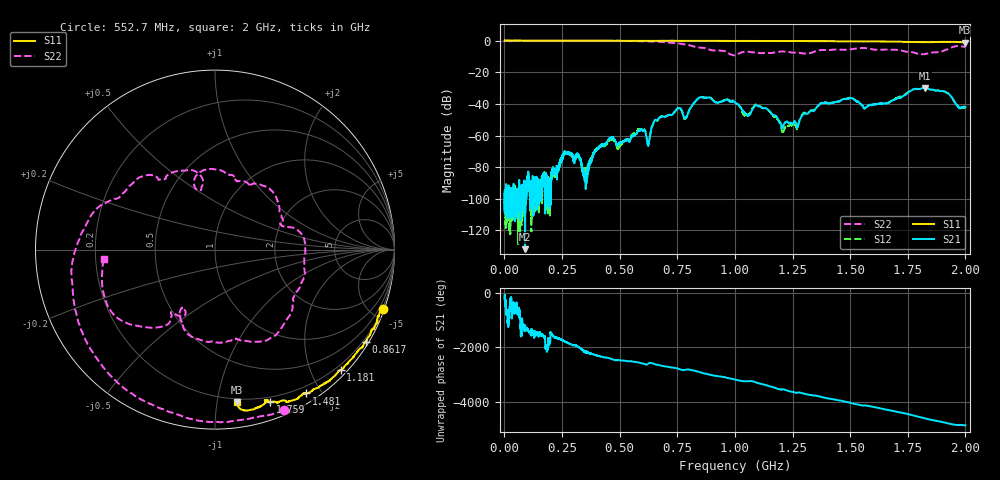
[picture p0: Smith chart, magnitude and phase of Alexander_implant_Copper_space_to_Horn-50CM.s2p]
!Siglent Technologies,SNA5004A,SNA5XCED5R0097,V1.0.0.2.15
!Date: 2026-04-30 16:16:13
!Data & Calibration Information:
!Freq	S11:F2(ON)	S21:F2(ON)	S12:F2(ON)	S22:F2(ON)
# Hz S DB R 50
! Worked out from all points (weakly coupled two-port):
!   7001 points, 1 MHz to 2 GHz, reference 50 ohm
!   highest |S21| = -29.90 dB at 1.824 GHz (marker M1); lowest = -131.9 dB at 89.81 MHz (marker M2)
!   lowest |S11| = -1.3 dB at 2 GHz (marker M3), VSWR 13.28, Z = 8.72 - j57 ohm
!   |S11| at or under -10 dB: nowhere
!   |S22| runs from -9.4 to 0.0 dB; largest |S21 - S12| = 0.002
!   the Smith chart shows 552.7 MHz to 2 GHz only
!   S11 on the Smith chart (normalised r, x): 552.7 MHz: 0.14, -5.85; 861.7 MHz: 0.09, -3.54; 1.181 GHz: 0.11, -2.48; 1.481 GHz: 0.11, -1.81; 1.759 GHz: 0.15, -1.42; 2 GHz: 0.17, -1.14
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1000000  0.05 0.1  -107.81 -109.1  -103.30 178.1  -0.00 179.6
8.981271e7  -0.02 -3.4  -131.91 -95.4  -94.98 175.3  -0.20 139.0
2.171776e8  -0.03 -8.0  -82.83 164.0  -85.94 163.7  -0.15 83.1
2.66867e8  -0.03 -9.7  -71.50 -4.7  -71.61 -9.3  -0.18 61.4
3.342619e8  -0.06 -11.4  -77.49 87.9  -78.00 59.6  -0.16 32.1
4.444924e8  -0.04 -16.3  -64.55 148.7  -65.29 140.8  -0.17 -16.2
5.52724e8  -0.07 -19.4  -60.59 9.5  -59.33 13.4  -0.23 -66.8
6.24688e8  -0.14 -22.1  -65.63 -69.9  -64.25 -78.4  -0.50 -102.0
6.675237e8  -0.09 -23.9  -49.56 -116.8  -49.95 -118.2  -0.70 -123.9
7.860359e8  -0.13 -28.1  -49.01 64.0  -49.21 67.3  -2.47 173.9
8.617123e8  -0.12 -31.5  -35.97 -58.9  -35.72 -56.3  -4.60 141.3
1.0005e9  -0.22 -37.1  -39.09 62.8  -38.85 58.3  -9.21 106.2
1.045049e9  -0.21 -38.4  -45.84 2.4  -47.62 8.9  -6.95 96.1
1.181267e9  -0.27 -43.8  -48.04 98.7  -48.71 97.4  -7.25 57.8
1.211252e9  -0.28 -45.7  -53.32 68.2  -57.23 58.5  -6.92 42.8
1.333762e9  -0.33 -50.9  -44.11 -150.5  -43.92 -149.4  -7.62 17.6
1.480831e9  -0.46 -57.7  -36.97 -30.5  -36.76 -26.6  -5.81 -32.0
1.667024e9  -0.66 -65.2  -39.04 31.1  -39.20 34.2  -5.75 -89.9
1.758978e9  -0.89 -70.0  -32.04 -137.0  -31.75 -139.0  -7.09 -115.1
1.824088e9  -1.07 -71.6  -29.90 84.4  -29.80 83.9  -8.53 -117.3
1.999714e9  -1.31 -81.8  -41.90 -176.4  -42.06 -176.6  -4.18 -175.3
2e9  -1.31 -81.7  -41.95 -176.8  -42.08 -176.7  -4.19 -175.5
